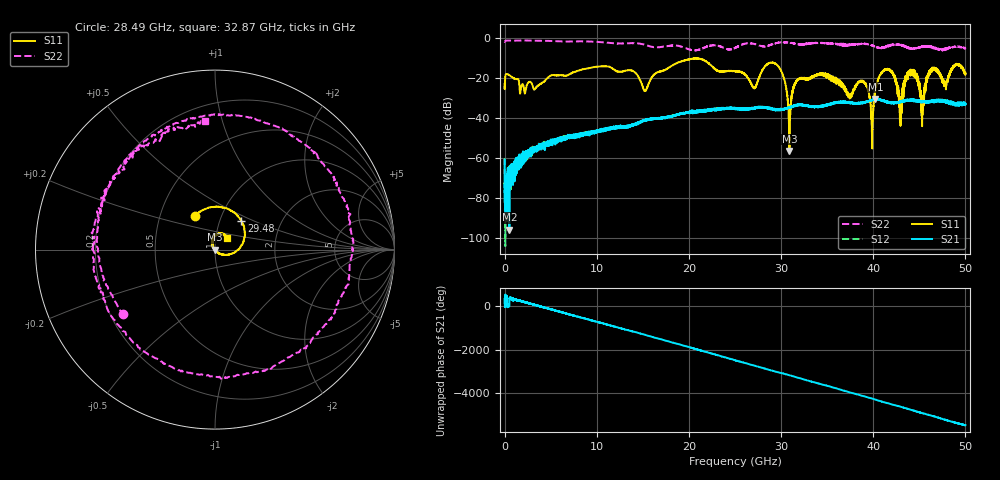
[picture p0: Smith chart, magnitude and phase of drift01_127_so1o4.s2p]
!Created with skrf (http://scikit-rf.org).
# Hz S RI R 50.0
!freq ReS11 ImS11 ReS21 ImS21 ReS12 ImS12 ReS22 ImS22
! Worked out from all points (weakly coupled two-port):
!   10001 points, 300 kHz to 50 GHz, reference 50 ohm
!   highest |S21| = -30.55 dB at 40.24 GHz (marker M1); lowest = -95.9 dB at 515.3 MHz (marker M2)
!   lowest |S11| = -56.5 dB at 30.9 GHz (marker M3), VSWR 1.00, Z = 49.9 - j0.076 ohm
!   |S11| at or under -10 dB: start of sweep to end of sweep
!   |S22| runs from -6.4 to -1.4 dB; largest |S21 - S12| = 0.004
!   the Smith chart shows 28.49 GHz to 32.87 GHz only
!   S11 on the Smith chart (normalised r, x): 28.49 GHz: 0.75, +0.29; 29.48 GHz: 1.26, +0.43; 32.87 GHz: 1.13, +0.15
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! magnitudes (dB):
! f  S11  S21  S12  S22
! 300 kHz  -23.3  -61.0  -60.3  -2.1
! 515.3 MHz  -18.7  -95.9  -72.5  -1.5
! 8.335 GHz  -16.0  -48.6  -48.7  -1.8
! 15.24 GHz  -26.5  -41.3  -41.3  -3.6
! 16.67 GHz  -17.1  -40.2  -40.4  -4.8
! 25 GHz  -16.7  -35.0  -35.6  -5.1
! 27.1 GHz  -25.2  -34.9  -35.1  -3.1
! 28.49 GHz  -13.3  -35.2  -35.0  -4.1
! 29.48 GHz  -13.3  -35.9  -36.0  -2.6
! 30.9 GHz  -56.5  -34.8  -34.8  -2.5
! 31.61 GHz  -22.2  -33.6  -33.9  -3.0
! 32.87 GHz  -20.5  -34.0  -34.1  -2.9
! 33.34 GHz  -19.5  -34.2  -34.4  -2.7
! 38.91 GHz  -22.1  -32.5  -32.5  -3.0
! 39.86 GHz  -45.4  -31.4  -31.1  -3.7
! 40.24 GHz  -26.2  -30.6  -30.9  -4.5
! 41.67 GHz  -15.8  -32.2  -32.5  -4.3
! 42.93 GHz  -34.0  -32.1  -32.1  -3.7
! 44.03 GHz  -17.0  -30.9  -31.1  -5.5
! 45.31 GHz  -44.2  -32.1  -31.9  -4.5
! 46.42 GHz  -15.4  -32.0  -31.6  -4.6
! 50 GHz  -17.5  -33.1  -32.9  -5.4
